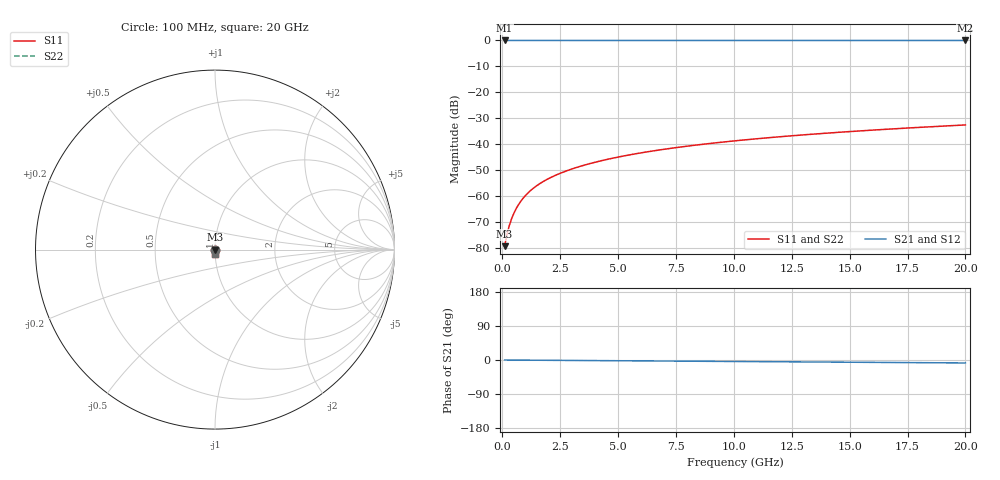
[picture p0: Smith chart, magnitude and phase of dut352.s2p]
! Touchstone file exported from HFSS 2026.1.0
!  File:  C:/ffzhzh/LocalFiles/Ansys_Project_Files/temp_train_TSV_352_1783019116_55676.aedt
!  Generated:  03:06:51 AM Jul  3, 2026
!  Design:  TSV
!  Project:  temp_train_TSV_352_1783019116_55676
! Variables:
!  h_bsmrdl = 2um
!  h_ox = 20um
!  h_rdl = 5um
!  h_sub = 76.72um
!  h_tmrdl = 5um
!  h_tsv = 76.72um
!  h_via = 3um
!  l_bsmrdl = 300um
!  l_sub = 428.64um
!  l_tmrdl = 200um
!  m_sub = 200um
!  pitch = 48.46um
!  r_tsv = 14.32um
!  s_tmrdl = 10um
!  w_bsmrdl = 18um
!  w_sub = 500um
!  w_tmrdl = 12um
!  x_tsv_center1 = 206um
!  x_tsv_center2 = 524um
!  x_tsv_center3 = 736um
!  x_tsv_center4 = 1054um
!  x_tsv_center5 = 1266um
!  x_tsv_center6 = 1584um
# GHz S MA R 50.000000
! Terminal data exported
! Port[1] = TSV1_1_T1
! Port[2] = TSV1_1_T2
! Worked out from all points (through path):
!   200 points, 100 MHz to 20 GHz, reference 50 ohm
!   highest |S21| = 0.00 dB at 100 MHz (marker M1); lowest = 0.0 dB at 20 GHz (marker M2)
!   group delay of S21, straight-line fit = 1.08 ps
!   lowest |S11| = -79.4 dB at 100 MHz (marker M3), VSWR 1.00, Z = 50 - j0.00763 ohm
!   |S11| at or under -10 dB: start of sweep to end of sweep
!   |S22| runs from -79.4 to -32.6 dB; largest |S21 - S12| = 3e-15
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0.1  0.0001071 -45.4  0.9999 -0.0  0.9999 -0.0  0.0001071 -45.4
! Gamma 0 0 0 0
! Port Impedance 50 0 50 0
0.2  0.0001797 -60.4  0.9999 -0.1  0.9999 -0.1  0.0001797 -60.4
0.3  0.0002656 -66.0  0.9999 -0.1  0.9999 -0.1  0.0002656 -66.0
0.4  0.0003604 -68.8  0.9999 -0.2  0.9999 -0.2  0.0003604 -68.8
0.5  0.0004618 -70.7  0.9998 -0.2  0.9998 -0.2  0.0004618 -70.7
0.6  0.0005681 -72.2  0.9998 -0.2  0.9998 -0.2  0.0005681 -72.2
0.8  0.0007893 -74.6  0.9998 -0.3  0.9998 -0.3  0.0007893 -74.6
1.1  0.00113 -77.4  0.9997 -0.4  0.9997 -0.4  0.00113 -77.4
1.3  0.001359 -78.8  0.9997 -0.5  0.9997 -0.5  0.001359 -78.8
1.5  0.001588 -79.9  0.9997 -0.6  0.9997 -0.6  0.001588 -79.9
1.8  0.00193 -81.3  0.9997 -0.7  0.9997 -0.7  0.00193 -81.3
2.1  0.002273 -82.4  0.9997 -0.8  0.9997 -0.8  0.002273 -82.4
2.7  0.002959 -83.9  0.9996 -1.1  0.9996 -1.1  0.002959 -83.9
3.5  0.003877 -85.2  0.9996 -1.4  0.9996 -1.4  0.003877 -85.2
4.2  0.004685 -86.1  0.9995 -1.7  0.9995 -1.7  0.004685 -86.1
5  0.005614 -86.9  0.9995 -2.0  0.9995 -2.0  0.005614 -86.9
6.8  0.007722 -88.3  0.9994 -2.7  0.9994 -2.7  0.007722 -88.3
8.3  0.009491 -89.3  0.9993 -3.2  0.9993 -3.2  0.009491 -89.3
10.1  0.01162 -90.4  0.9992 -3.9  0.9992 -3.9  0.01162 -90.4
13.4  0.01553 -92.2  0.9991 -5.2  0.9991 -5.2  0.01553 -92.2
16.7  0.01946 -93.8  0.9989 -6.5  0.9989 -6.5  0.01946 -93.8
20  0.0234 -95.3  0.9987 -7.8  0.9987 -7.8  0.0234 -95.3
